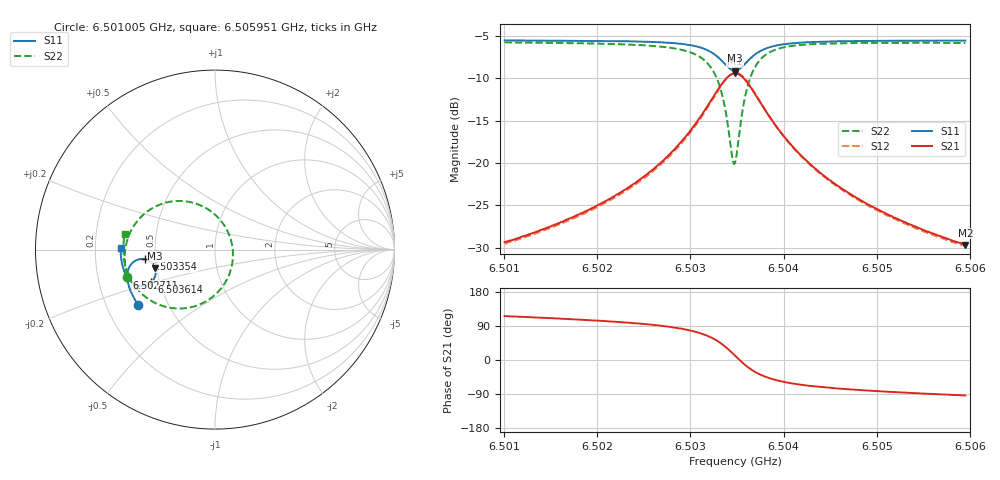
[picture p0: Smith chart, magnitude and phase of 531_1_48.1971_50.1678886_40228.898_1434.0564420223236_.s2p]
#  HZ  S  RI  R  50.00
! Rohde & Schwarz Vector Network Analyzer
! Rohde-Schwarz,ZNB20-2Port,1311601062101988,3.16
! Created: UTC 3/20/2024, 11:59:52 AM
! freq[Hz]  re:S11  im:S11  re:S21  im:S21  re:S12  im:S12  re:S22  im:S22
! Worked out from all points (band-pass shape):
!   401 points, 6.501005 GHz to 6.505951 GHz, reference 50 ohm
!   highest |S21| = -9.45 dB at 6.503478 GHz (marker M1); lowest = -29.7 dB at 6.505951 GHz (marker M2)
!   |S21| within 3 dB of the highest: 6.503231 GHz to 6.503725 GHz (494.2 kHz wide, 0.0076 % of centre)
!   lowest |S11| = -9.1 dB at 6.503478 GHz (marker M3), VSWR 2.08, Z = 24.5 - j5.85 ohm
!   |S11| at or under -10 dB: nowhere
!   |S22| runs from -20.1 to -5.8 dB; largest |S21 - S12| = 0.011
!   S11 on the Smith chart (normalised r, x): 6.501005 GHz: 0.34, -0.29; 6.502711 GHz: 0.33, -0.14; 6.503354 GHz: 0.44, -0.06; 6.503614 GHz: 0.45, -0.19; 6.505951 GHz: 0.31, +0.01
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6.5010046e9  -0.4285 -0.307  -0.0149 0.0308  -0.0132 0.0308  -0.4909 -0.1506
6.5018331e9  -0.4639 -0.2453  -0.0142 0.0486  -0.0118 0.0483  -0.5033 -0.0617
6.5022783e9  -0.4794 -0.2054  -0.0112 0.0677  -0.00826 0.0665  -0.4999 0.00202
6.5026616e9  -0.4884 -0.1626  -0.0018 0.0982  0.00169 0.0959  -0.4796 0.0794
6.502711e9  -0.4888 -0.1562  0.000592 0.1039  0.00423 0.1015  -0.474 0.0922
6.502946e9  -0.4855 -0.1193  0.0233 0.1407  0.0267 0.1365  -0.4271 0.1662
6.5031067e9  -0.4711 -0.0871  0.0622 0.1766  0.0649 0.171  -0.3512 0.2295
6.5032551e9  -0.4338 -0.0574  0.1434 0.2054  0.1439 0.1995  -0.2036 0.271
6.503354e9  -0.3874 -0.0542  0.2342 0.1892  0.2343 0.1851  -0.0463 0.2292
6.5034406e9  -0.3447 -0.0829  0.3124 0.1154  0.3149 0.1117  0.0784 0.0838
6.5034653e9  -0.3366 -0.0971  0.3259 0.0838  0.3291 0.0794  0.0956 0.0243
6.5034777e9  -0.3338 -0.1048  0.3303 0.0669  0.3338 0.0621  0.0996 -0.00699
6.5035024e9  -0.3308 -0.1209  0.3338 0.0325  0.3378 0.0263  0.0974 -0.0701
6.5035395e9  -0.3327 -0.1448  0.3266 -0.0175  0.3303 -0.0258  0.0705 -0.1585
6.5036137e9  -0.3548 -0.182  0.2805 -0.0937  0.2808 -0.1047  -0.0385 -0.2813
6.5037126e9  -0.3955 -0.2013  0.2027 -0.1372  0.1981 -0.1471  -0.1967 -0.3285
6.5038734e9  -0.4447 -0.1939  0.1151 -0.1368  0.1082 -0.1422  -0.3561 -0.285
6.5040465e9  -0.4736 -0.1727  0.0672 -0.1162  0.0612 -0.1188  -0.4338 -0.2183
6.5043062e9  -0.4963 -0.1412  0.0345 -0.0898  0.0297 -0.0903  -0.4813 -0.1408
6.5046771e9  -0.5119 -0.1021  0.0151 -0.0659  0.012 -0.0657  -0.5042 -0.0654
6.5051346e9  -0.5213 -0.0594  0.00507 -0.0489  0.00302 -0.0484  -0.5104 0.000422
6.5059507e9  -0.5265 0.00998  -0.00197 -0.0329  -0.00336 -0.0322  -0.5029 0.0877
